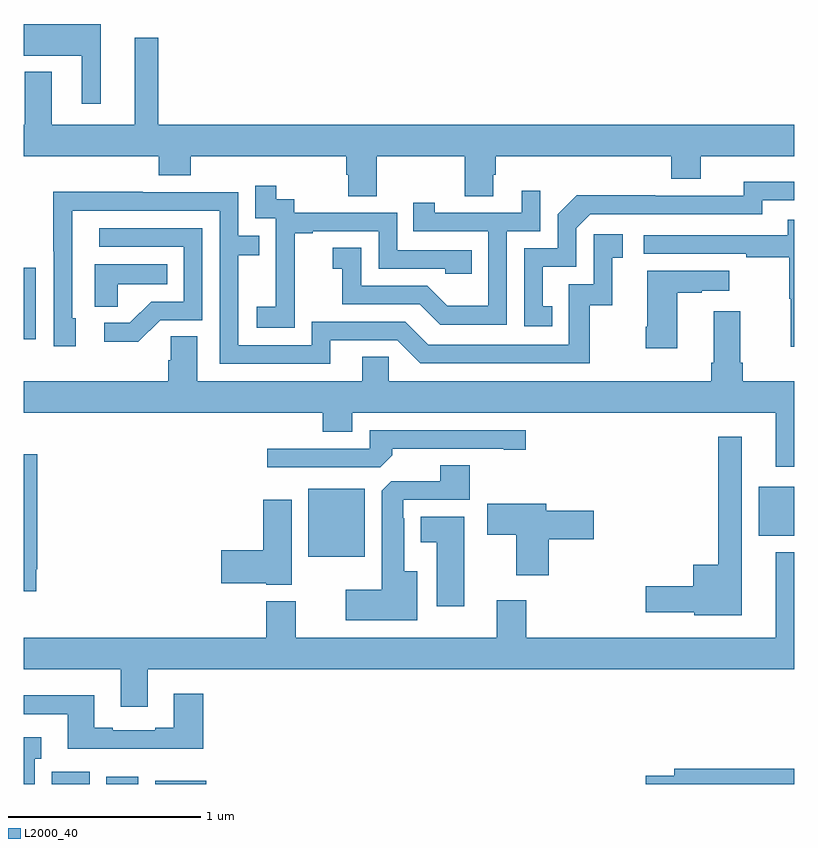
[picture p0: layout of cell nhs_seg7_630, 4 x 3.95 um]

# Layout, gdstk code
import gdstk
lib = gdstk.Library(unit=1e-6, precision=1e-09)
def R(c, l, rs):  # rectangles x0, y0, x1, y1
    for r in rs: c.add(gdstk.rectangle(r[:2], r[2:], *l))
def P(c, l, *ps):  # polygons
    for p in ps: c.add(gdstk.Polygon(p, *l))
L2000_40 = (2000, 40)

nhs_seg7_630 = lib.new_cell('nhs_seg7_630')
R(nhs_seg7_630, L2000_40, [(159.146,1020,159.343,1020.064), (159.428,1020,159.595,1020.037), (159.683,1020,159.947,1020.016), (160.478,1021.181,160.771,1021.534), (162.815,1021.289,163,1021.543), (159,1022.31,159.063,1022.68)])
P(nhs_seg7_630, L2000_40, [(159.4,1023.946),(159,1023.946),(159,1023.782),(159.302,1023.782),(159.302,1023.531),(159.4,1023.531)],
  [(160.833,1023.26),(161.29,1023.26),(161.29,1023.052),(161.437,1023.052),(161.437,1023.162),(161.45,1023.162),(161.45,1023.26),(162.362,1023.26),(162.362,1023.143),(162.514,1023.143),(162.514,1023.26),(163,1023.26),(163,1023.424),(159.697,1023.424),(159.697,1023.874),(159.575,1023.874),(159.575,1023.424),(159.145,1023.424),(159.145,1023.697),(159.005,1023.697),(159.005,1023.424),(159,1023.424),(159,1023.26),(159.701,1023.26),(159.701,1023.161),(159.866,1023.161),(159.866,1023.26),(160.673,1023.26),(160.673,1023.162),(160.685,1023.162),(160.685,1023.052),(160.833,1023.052)],
  [(161.744,1022.481),(161.695,1022.481),(161.695,1022.685),(161.868,1022.685),(161.868,1022.886),(161.94,1022.958),(162.834,1022.958),(162.834,1023.03),(163,1023.03),(163,1023.127),(162.738,1023.127),(162.738,1023.054),(162.278,1023.054),(162.278,1023.056),(161.87,1023.056),(161.772,1022.958),(161.772,1022.781),(161.598,1022.781),(161.598,1022.376),(161.744,1022.376)],
  [(160.407,1022.575),(160.406,1022.575),(160.406,1022.859),(160.501,1022.859),(160.501,1022.871),(160.842,1022.871),(160.842,1022.676),(161.187,1022.676),(161.187,1022.649),(161.327,1022.649),(161.327,1022.772),(160.938,1022.772),(160.938,1022.967),(160.404,1022.967),(160.404,1023.036),(160.312,1023.036),(160.312,1023.106),(160.203,1023.106),(160.203,1022.937),(160.308,1022.937),(160.308,1022.708),(160.307,1022.708),(160.307,1022.479),(160.209,1022.479),(160.209,1022.369),(160.407,1022.369)],
  [(161.508,1022.871),(161.682,1022.871),(161.682,1023.079),(161.585,1023.079),(161.585,1022.967),(161.134,1022.967),(161.134,1023.019),(161.023,1023.019),(161.023,1022.871),(161.412,1022.871),(161.412,1022.482),(161.198,1022.482),(161.094,1022.586),(160.752,1022.586),(160.752,1022.785),(160.605,1022.785),(160.605,1022.675),(160.654,1022.675),(160.654,1022.49),(161.057,1022.49),(161.162,1022.385),(161.508,1022.385)],
  [(160.591,1022.304),(160.938,1022.304),(161.058,1022.184),(161.938,1022.184),(161.938,1022.487),(162.056,1022.487),(162.056,1022.733),(162.109,1022.733),(162.109,1022.854),(161.958,1022.854),(161.958,1022.595),(161.829,1022.595),(161.829,1022.28),(161.1,1022.28),(160.98,1022.4),(160.494,1022.4),(160.494,1022.277),(160.113,1022.277),(160.113,1022.746),(160.223,1022.746),(160.223,1022.847),(160.113,1022.847),(160.113,1023.072),(159.617,1023.072),(159.617,1023.074),(159.154,1023.074),(159.154,1022.767),(159.156,1022.767),(159.156,1022.274),(159.271,1022.274),(159.271,1022.418),(159.252,1022.418),(159.252,1022.976),(160.017,1022.976),(160.017,1022.181),(160.591,1022.181)],
  [(163,1022.929),(162.967,1022.929),(162.967,1022.85),(162.219,1022.85),(162.219,1022.754),(162.751,1022.754),(162.751,1022.734),(162.975,1022.734),(162.975,1022.52),(162.982,1022.52),(162.982,1022.271),(163,1022.271)],
  [(159.708,1022.409),(159.927,1022.409),(159.927,1022.886),(159.393,1022.886),(159.393,1022.79),(159.831,1022.79),(159.831,1022.505),(159.662,1022.505),(159.551,1022.394),(159.417,1022.394),(159.417,1022.297),(159.595,1022.297)],
  [(159.489,1022.594),(159.746,1022.594),(159.746,1022.698),(159.368,1022.698),(159.368,1022.479),(159.489,1022.479)],
  [(162.394,1022.551),(162.521,1022.551),(162.521,1022.561),(162.664,1022.561),(162.664,1022.665),(162.236,1022.665),(162.236,1022.374),(162.229,1022.374),(162.229,1022.262),(162.394,1022.262)],
  [(163,1022.092),(162.734,1022.092),(162.734,1022.188),(162.721,1022.188),(162.721,1022.455),(162.581,1022.455),(162.581,1022.188),(162.569,1022.188),(162.569,1022.092),(160.896,1022.092),(160.896,1022.219),(160.757,1022.219),(160.757,1022.092),(159.901,1022.092),(159.901,1022.324),(159.762,1022.324),(159.762,1022.201),(159.749,1022.201),(159.749,1022.092),(159,1022.092),(159,1021.928),(160.553,1021.928),(160.553,1021.829),(160.705,1021.829),(160.705,1021.928),(162.905,1021.928),(162.905,1021.647),(163,1021.647)],
  [(160.913,1021.706),(160.913,1021.74),(161.492,1021.74),(161.492,1021.735),(161.605,1021.735),(161.605,1021.836),(160.797,1021.836),(160.797,1021.74),(160.263,1021.74),(160.263,1021.644),(160.851,1021.644)],
  [(162.727,1021.804),(162.606,1021.804),(162.606,1021.138),(162.476,1021.138),(162.476,1021.028),(162.228,1021.028),(162.228,1020.893),(162.48,1020.893),(162.48,1020.875),(162.727,1020.875)],
  [(159.064,1021.114),(159.071,1021.114),(159.071,1021.712),(159,1021.712),(159,1021.002),(159.064,1021.002)],
  [(161.044,1021.105),(160.975,1021.105),(160.975,1021.379),(160.971,1021.379),(160.971,1021.476),(161.315,1021.476),(161.315,1021.655),(161.162,1021.655),(161.162,1021.572),(160.908,1021.572),(160.859,1021.523),(160.859,1021.009),(160.671,1021.009),(160.671,1020.851),(161.044,1020.851)],
  [(160.39,1021.477),(160.244,1021.477),(160.244,1021.214),(160.026,1021.214),(160.026,1021.043),(160.26,1021.043),(160.26,1021.034),(160.39,1021.034)],
  [(161.726,1021.271),(161.959,1021.271),(161.959,1021.418),(161.713,1021.418),(161.713,1021.456),(161.406,1021.456),(161.406,1021.294),(161.558,1021.294),(161.558,1021.083),(161.726,1021.083)],
  [(161.287,1021.387),(161.06,1021.387),(161.06,1021.256),(161.144,1021.256),(161.144,1020.924),(161.287,1020.924)],
  [(159.643,1020.596),(163,1020.596),(163,1021.204),(162.905,1021.204),(162.905,1020.76),(161.609,1020.76),(161.609,1020.955),(161.456,1020.955),(161.456,1020.76),(160.411,1020.76),(160.411,1020.949),(160.259,1020.949),(160.259,1020.76),(159,1020.76),(159,1020.596),(159.503,1020.596),(159.503,1020.402),(159.643,1020.402)],
  [(159.932,1020.469),(159.779,1020.469),(159.779,1020.292),(159.683,1020.292),(159.683,1020.279),(159.463,1020.279),(159.463,1020.292),(159.367,1020.292),(159.367,1020.46),(159,1020.46),(159,1020.363),(159.227,1020.363),(159.227,1020.182),(159.932,1020.182)],
  [(159.058,1020.131),(159.091,1020.131),(159.091,1020.244),(159,1020.244),(159,1020),(159.058,1020)],
  [(163,1020.08),(162.377,1020.08),(162.377,1020.044),(162.228,1020.044),(162.228,1020),(163,1020)])

lib.write_gds('nhs_seg7_630.gds')
